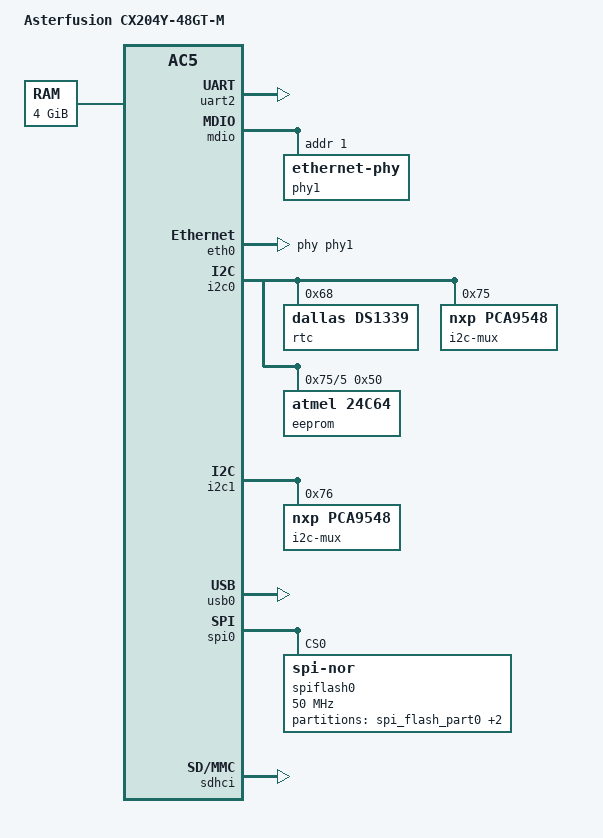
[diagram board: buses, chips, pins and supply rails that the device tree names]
// SPDX-License-Identifier: (GPL-2.0+ OR MIT)
/*
 * Device Tree for Asterfusion CX204Y-48GT-M (48x 1G RJ45 + 4x 25G SFP28).
 *
 * Board facts come from the vendor's ac5x-204.dtb (AsterNOS V6.1R006P002),
 * expressed with mainline bindings.
 */

/dts-v1/;

#include "ac5-98dx35xx.dtsi"

/ {
	model = "Asterfusion CX204Y-48GT-M";
	compatible = "asterfusion,cx204y-48gt", "marvell,ac5x", "marvell,ac5";

	aliases {
		serial0 = &uart0;
		serial1 = &uart2;
		spiflash0 = &spiflash0;
		gpio0 = &gpio0;
		gpio1 = &gpio1;
		ethernet0 = &eth0;
		/* Bus numbers are ABI for the platform API (CPLD 6-0040, EEPROM 7-0050, SFP 10..13) */
		i2c0 = &i2c0;
		i2c1 = &i2c1;
		i2c2 = &mux75_ch0;
		i2c3 = &mux75_ch1;
		i2c4 = &mux75_ch2;
		i2c5 = &mux75_ch3;
		i2c6 = &mux75_ch4;
		i2c7 = &mux75_ch5;
		i2c8 = &mux75_ch6;
		i2c9 = &mux75_ch7;
		i2c10 = &mux76_ch0;
		i2c11 = &mux76_ch1;
		i2c12 = &mux76_ch2;
		i2c13 = &mux76_ch3;
		i2c14 = &mux76_ch4;
		i2c15 = &mux76_ch5;
		i2c16 = &mux76_ch6;
		i2c17 = &mux76_ch7;
	};

	chosen {
		stdout-path = "serial0:115200n8";
	};

	memory@0 {
		device_type = "memory";
		reg = <0x2 0x00000000 0x1 0x00000000>;
	};

	/* Nodes below match sonic-linux-kernel's AC5 dts patch (0005) */
	watchdog {
		compatible = "arm,smc-wdt";
	};

	soc {
		/* mvcpss looks this node up by path */
		prestera {
			compatible = "marvell,armada-ac5-switch";
			interrupts = <GIC_SPI 0x23 IRQ_TYPE_LEVEL_HIGH>;
		};
	};
};

&{/timer} {
	clock-frequency = <25000000>;
};

&uart2 {
	status = "okay";
};

&mdio {
	phy1: ethernet-phy@1 {
		reg = <1>;
		/* page 3 reg 16: LED function control, as in vendor V6.1R006P002 */
		marvell,reg-init = <3 16 0 0x17>;
	};
};

&eth0 {
	status = "okay";
	phy-handle = <&phy1>;
};

&i2c0 {
	status = "okay";

	rtc@68 {
		compatible = "dallas,ds1339";
		reg = <0x68>;
	};

	i2c-mux@75 {
		compatible = "nxp,pca9548";
		reg = <0x75>;
		#address-cells = <1>;
		#size-cells = <0>;

		mux75_ch0: i2c@0 {
			#address-cells = <1>;
			#size-cells = <0>;
			reg = <0>;
		};

		mux75_ch1: i2c@1 {
			#address-cells = <1>;
			#size-cells = <0>;
			reg = <1>;
		};

		mux75_ch2: i2c@2 {
			#address-cells = <1>;
			#size-cells = <0>;
			reg = <2>;
		};

		mux75_ch3: i2c@3 {
			#address-cells = <1>;
			#size-cells = <0>;
			reg = <3>;
		};

		/* System CPLD at 0x40 is instantiated by the x204y-48gt module */
		mux75_ch4: i2c@4 {
			#address-cells = <1>;
			#size-cells = <0>;
			reg = <4>;
		};

		mux75_ch5: i2c@5 {
			#address-cells = <1>;
			#size-cells = <0>;
			reg = <5>;

			eeprom@50 {
				compatible = "atmel,24c64";
				reg = <0x50>;
				read-only;
			};
		};

		mux75_ch6: i2c@6 {
			#address-cells = <1>;
			#size-cells = <0>;
			reg = <6>;
		};

		mux75_ch7: i2c@7 {
			#address-cells = <1>;
			#size-cells = <0>;
			reg = <7>;
		};
	};
};

&i2c1 {
	status = "okay";

	/* SFP28 cages 49..52 on channels 0..3; optoe2 is bound by the platform init */
	i2c-mux@76 {
		compatible = "nxp,pca9548";
		reg = <0x76>;
		#address-cells = <1>;
		#size-cells = <0>;

		mux76_ch0: i2c@0 {
			#address-cells = <1>;
			#size-cells = <0>;
			reg = <0>;
		};

		mux76_ch1: i2c@1 {
			#address-cells = <1>;
			#size-cells = <0>;
			reg = <1>;
		};

		mux76_ch2: i2c@2 {
			#address-cells = <1>;
			#size-cells = <0>;
			reg = <2>;
		};

		mux76_ch3: i2c@3 {
			#address-cells = <1>;
			#size-cells = <0>;
			reg = <3>;
		};

		mux76_ch4: i2c@4 {
			#address-cells = <1>;
			#size-cells = <0>;
			reg = <4>;
		};

		mux76_ch5: i2c@5 {
			#address-cells = <1>;
			#size-cells = <0>;
			reg = <5>;
		};

		mux76_ch6: i2c@6 {
			#address-cells = <1>;
			#size-cells = <0>;
			reg = <6>;
		};

		mux76_ch7: i2c@7 {
			#address-cells = <1>;
			#size-cells = <0>;
			reg = <7>;
		};
	};
};

/* USB0 is a host USB; USB1 (device mode) is not used on this board */
&usb0 {
	/* DRAM starts at 8 GB, beyond the 32-bit mask of plain orion-ehci */
	compatible = "marvell,ac5-ehci", "marvell,orion-ehci";
	status = "okay";
};

&spi0 {
	status = "okay";

	spiflash0: flash@0 {
		compatible = "jedec,spi-nor";
		spi-max-frequency = <50000000>;
		spi-tx-bus-width = <1>;
		spi-rx-bus-width = <1>;
		reg = <0>;

		partitions {
			compatible = "fixed-partitions";
			#address-cells = <1>;
			#size-cells = <1>;

			partition@0 {
				label = "spi_flash_part0";
				reg = <0x0 0x800000>;
			};

			partition@800000 {
				label = "spi_flash_part1";
				reg = <0x800000 0x700000>;
			};

			partition@f00000 {
				label = "spi_flash_part2";
				reg = <0xf00000 0x100000>;
			};
		};
	};
};

/* eMMC I/O is 3.3V on this board (vendor DT: no-1-8-v, mmc-ddr-3_3v) */
&sdhci {
	status = "okay";
	/delete-property/ mmc-ddr-1_8v;
	/delete-property/ mmc-hs200-1_8v;
	/delete-property/ mmc-hs400-1_8v;
	no-1-8-v;
	mmc-ddr-3_3v;
};
